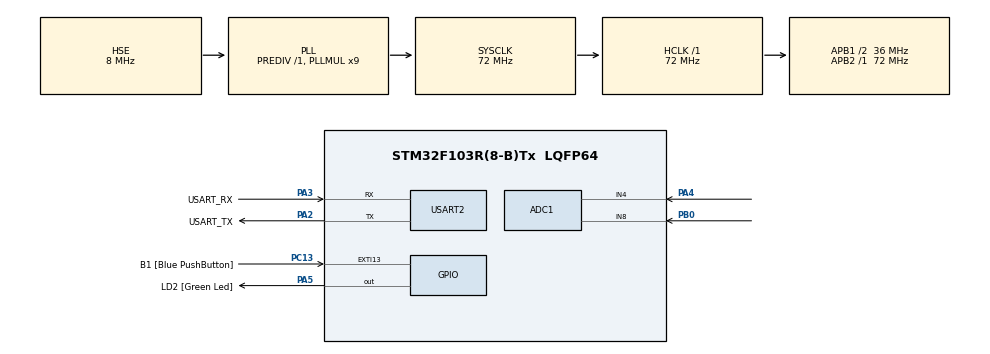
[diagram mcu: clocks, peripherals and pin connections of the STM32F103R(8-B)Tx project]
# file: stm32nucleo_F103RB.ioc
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ADC1.Channel-0\#ChannelRegularConversion=ADC_CHANNEL_4
ADC1.Channel-1\#ChannelRegularConversion=ADC_CHANNEL_8
ADC1.ContinuousConvMode=ENABLE
ADC1.NbrOfConversion=2
ADC1.NbrOfConversionFlag=1
ADC1.Rank-0\#ChannelRegularConversion=1
ADC1.Rank-1\#ChannelRegularConversion=2
ADC1.SamplingTime-0\#ChannelRegularConversion=ADC_SAMPLETIME_1CYCLE_5
ADC1.SamplingTime-1\#ChannelRegularConversion=ADC_SAMPLETIME_1CYCLE_5
ADC1.master=1
Dma.ADC1.2.Direction=DMA_PERIPH_TO_MEMORY
Dma.ADC1.2.Instance=DMA1_Channel1
Dma.ADC1.2.MemDataAlignment=DMA_MDATAALIGN_WORD
Dma.ADC1.2.MemInc=DMA_MINC_ENABLE
Dma.ADC1.2.Mode=DMA_CIRCULAR
Dma.ADC1.2.PeriphDataAlignment=DMA_PDATAALIGN_WORD
Dma.ADC1.2.PeriphInc=DMA_PINC_DISABLE
Dma.ADC1.2.Priority=DMA_PRIORITY_LOW
Dma.Request0=USART2_RX
Dma.Request1=USART2_TX
Dma.Request2=ADC1
Dma.USART2_RX.0.Direction=DMA_PERIPH_TO_MEMORY
Dma.USART2_RX.0.Instance=DMA1_Channel6
Dma.USART2_RX.0.MemDataAlignment=DMA_MDATAALIGN_BYTE
Dma.USART2_RX.0.MemInc=DMA_MINC_ENABLE
Dma.USART2_RX.0.Mode=DMA_CIRCULAR
Dma.USART2_RX.0.PeriphDataAlignment=DMA_PDATAALIGN_BYTE
Dma.USART2_RX.0.PeriphInc=DMA_PINC_DISABLE
Dma.USART2_RX.0.Priority=DMA_PRIORITY_LOW
Dma.USART2_TX.1.Direction=DMA_MEMORY_TO_PERIPH
Dma.USART2_TX.1.Instance=DMA1_Channel7
Dma.USART2_TX.1.MemDataAlignment=DMA_MDATAALIGN_BYTE
Dma.USART2_TX.1.MemInc=DMA_MINC_ENABLE
Dma.USART2_TX.1.Mode=DMA_NORMAL
Dma.USART2_TX.1.PeriphDataAlignment=DMA_PDATAALIGN_BYTE
Dma.USART2_TX.1.PeriphInc=DMA_PINC_DISABLE
Dma.USART2_TX.1.Priority=DMA_PRIORITY_LOW
FREERTOS.Queues01=cmdQueue,4,ProtoCmd_t,0,Dynamic,NULL,NULL
FREERTOS.Tasks01=defaultTask,0,128,StartDefaultTask,Default,NULL,Dynamic,NULL,NULL;nonblockTask,-1,128,StartTaskNonblock,Default,NULL,Dynamic,NULL,NULL
Mcu.Family=STM32F1
Mcu.Name=STM32F103R(8-B)Tx
Mcu.Package=LQFP64
NVIC.DMA1_Channel1_IRQn=true\:5\:0\:false\:false\:true\:true\:false\:true
NVIC.DMA1_Channel6_IRQn=true\:5\:0\:false\:false\:true\:true\:false\:true
NVIC.DMA1_Channel7_IRQn=true\:5\:0\:false\:false\:true\:true\:false\:true
NVIC.EXTI15_10_IRQn=true\:5\:0\:false\:false\:true\:true\:true\:true
NVIC.PriorityGroup=NVIC_PRIORITYGROUP_4
NVIC.TIM1_UP_IRQn=true\:0\:0\:false\:false\:true\:false\:false\:true
NVIC.TimeBase=TIM1_UP_IRQn
NVIC.TimeBaseIP=TIM1
NVIC.USART2_IRQn=true\:5\:0\:false\:false\:true\:true\:true\:true
PA13.GPIO_Label=TMS
PA13.Mode=Serial_Wire
PA13.Signal=SYS_JTMS-SWDIO
PA14.GPIO_Label=TCK
PA14.Mode=Serial_Wire
PA14.Signal=SYS_JTCK-SWCLK
PA2.GPIO_Label=USART_TX
PA2.GPIO_Mode=GPIO_MODE_AF_PP
PA2.GPIO_PuPd=GPIO_NOPULL
PA2.GPIO_Speed=GPIO_SPEED_FREQ_LOW
PA2.Mode=Asynchronous
PA2.Signal=USART2_TX
PA3.GPIO_Label=USART_RX
PA3.GPIO_Mode=GPIO_MODE_AF_PP
PA3.GPIO_PuPd=GPIO_NOPULL
PA3.GPIO_Speed=GPIO_SPEED_FREQ_LOW
PA3.Mode=Asynchronous
PA3.Signal=USART2_RX
PA4.Signal=ADCx_IN4
PA5.GPIO_Label=LD2 [Green Led]
PA5.GPIO_ModeDefaultOutputPP=GPIO_MODE_OUTPUT_PP
PA5.GPIO_PuPd=GPIO_NOPULL
PA5.GPIO_Speed=GPIO_SPEED_FREQ_LOW
PA5.Signal=GPIO_Output
PB0.Signal=ADCx_IN8
PB3.GPIO_Label=SWO
PB3.Signal=SYS_JTDO-TRACESWO
PC13-TAMPER-RTC.GPIO_Label=B1 [Blue PushButton]
PC13-TAMPER-RTC.GPIO_PuPd=GPIO_NOPULL
PC13-TAMPER-RTC.Signal=GPXTI13
PC14-OSC32_IN.Mode=LSE-External-Oscillator
PC14-OSC32_IN.Signal=RCC_OSC32_IN
PC15-OSC32_OUT.Mode=LSE-External-Oscillator
PC15-OSC32_OUT.Signal=RCC_OSC32_OUT
PD0-OSC_IN.Mode=HSE-External-Clock-Source
PD0-OSC_IN.Signal=RCC_OSC_IN
PD1-OSC_OUT.Mode=HSE-External-Clock-Source
PD1-OSC_OUT.Signal=RCC_OSC_OUT
ProjectManager.HeapSize=0x200
ProjectManager.StackSize=0x400
ProjectManager.TargetToolchain=MDK-ARM V5.32
RCC.ADCPresc=RCC_ADCPCLK2_DIV6
RCC.AHBFreq_Value=72000000
RCC.APB1CLKDivider=RCC_HCLK_DIV2
RCC.APB1Freq_Value=36000000
RCC.APB1TimFreq_Value=72000000
RCC.APB2Freq_Value=72000000
RCC.APB2TimFreq_Value=72000000
RCC.HCLKFreq_Value=72000000
RCC.PLLMUL=RCC_PLL_MUL9
RCC.PLLSourceVirtual=RCC_PLLSOURCE_HSE
RCC.RTCClockSelection=RCC_RTCCLKSOURCE_LSE
RCC.SYSCLKFreq_VALUE=72000000
RCC.SYSCLKSource=RCC_SYSCLKSOURCE_PLLCLK
RCC.USBFreq_Value=72000000
SH.ADCx_IN4.0=ADC1_IN4,IN4
SH.ADCx_IN8.0=ADC1_IN8,IN8
USART2.VirtualMode=VM_ASYNC
VP_FREERTOS_VS_CMSIS_V1.Mode=CMSIS_V1
VP_SYS_VS_tim1.Mode=TIM1
board=NUCLEO-F103RB

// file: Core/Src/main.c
/* USER CODE BEGIN Header */
/**
  ******************************************************************************
  * @file           : main.c
  * @brief          : Main program body
  ******************************************************************************
  * @attention
  *
  * <h2><center>&copy; Copyright (c) 2021 STMicroelectronics.
  * All rights reserved.</center></h2>
  *
  * This software component is licensed by ST under BSD 3-Clause license,
  * the "License"; You may not use this file except in compliance with the
  * License. You may obtain a copy of the License at:
  *                        opensource.org/licenses/BSD-3-Clause
  *
  ******************************************************************************
  */
/* USER CODE END Header */
#include "main.h"
#include "cmsis_os.h"
#include "adc.h"
#include "dma.h"
#include "usart.h"
#include "gpio.h"

/* USER CODE BEGIN PV */
uint8_t rx_buffer[RX_SIZE];
uint16_t len_data_total;
uint32_t adc_value[10];
uint16_t average_adc;
float average_volt_a2;
float average_volt_a3;
/* USER CODE END PV */

void SystemClock_Config(void);
void MX_FREERTOS_Init(void);

int main(void)
{

  /* MCU Configuration--------------------------------------------------------*/

  /* Reset of all peripherals, Initializes the Flash interface and the Systick. */
  HAL_Init();

  /* Configure the system clock */
  SystemClock_Config();

  /* Initialize all configured peripherals */
  MX_GPIO_Init();
  MX_DMA_Init();
  MX_USART2_UART_Init();
  MX_ADC1_Init();
  /* USER CODE BEGIN 2 */
	__HAL_UART_ENABLE_IT(&huart2, UART_IT_IDLE);

	HAL_ADC_Start_DMA(&hadc1, (uint32_t*)&adc_value , 10);
	HAL_UART_Receive_DMA(&huart2, rx_buffer, RX_SIZE);
  /* USER CODE END 2 */

  /* Call init function for freertos objects (in freertos.c) */
  MX_FREERTOS_Init();
  /* Start scheduler */
  osKernelStart();

  /* We should never get here as control is now taken by the scheduler */
  /* Infinite loop */
  while (1)
  {

  }
}

void SystemClock_Config(void)
{
  RCC_OscInitTypeDef RCC_OscInitStruct = {0};
  RCC_ClkInitTypeDef RCC_ClkInitStruct = {0};
  RCC_PeriphCLKInitTypeDef PeriphClkInit = {0};

  /** Initializes the RCC Oscillators according to the specified parameters
  * in the RCC_OscInitTypeDef structure.
  */
  RCC_OscInitStruct.OscillatorType = RCC_OSCILLATORTYPE_HSE;
  RCC_OscInitStruct.HSEState = RCC_HSE_BYPASS;
  RCC_OscInitStruct.HSEPredivValue = RCC_HSE_PREDIV_DIV1;
  RCC_OscInitStruct.HSIState = RCC_HSI_ON;
  RCC_OscInitStruct.PLL.PLLState = RCC_PLL_ON;
  RCC_OscInitStruct.PLL.PLLSource = RCC_PLLSOURCE_HSE;
  RCC_OscInitStruct.PLL.PLLMUL = RCC_PLL_MUL9;
  if (HAL_RCC_OscConfig(&RCC_OscInitStruct) != HAL_OK)
  {
    Error_Handler();
  }
  /** Initializes the CPU, AHB and APB buses clocks
  */
  RCC_ClkInitStruct.ClockType = RCC_CLOCKTYPE_HCLK|RCC_CLOCKTYPE_SYSCLK
                              |RCC_CLOCKTYPE_PCLK1|RCC_CLOCKTYPE_PCLK2;
  RCC_ClkInitStruct.SYSCLKSource = RCC_SYSCLKSOURCE_PLLCLK;
  RCC_ClkInitStruct.AHBCLKDivider = RCC_SYSCLK_DIV1;
  RCC_ClkInitStruct.APB1CLKDivider = RCC_HCLK_DIV2;
  RCC_ClkInitStruct.APB2CLKDivider = RCC_HCLK_DIV1;

  if (HAL_RCC_ClockConfig(&RCC_ClkInitStruct, FLASH_LATENCY_2) != HAL_OK)
  {
    Error_Handler();
  }
  PeriphClkInit.PeriphClockSelection = RCC_PERIPHCLK_ADC;
  PeriphClkInit.AdcClockSelection = RCC_ADCPCLK2_DIV6;
  if (HAL_RCCEx_PeriphCLKConfig(&PeriphClkInit) != HAL_OK)
  {
    Error_Handler();
  }
}

void HAL_TIM_PeriodElapsedCallback(TIM_HandleTypeDef *htim)
{
  if (htim->Instance == TIM1) {
    HAL_IncTick();
  }
}

void Error_Handler(void)
{
  __disable_irq();
  while (1)
  {
  }
}

/************************ (C) COPYRIGHT STMicroelectronics *****END OF FILE****/

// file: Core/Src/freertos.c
/* USER CODE BEGIN Header */
/**
 ******************************************************************************
 * File Name          : freertos.c
 * Description        : Code for freertos applications
 ******************************************************************************
 * @attention
 *
 * <h2><center>&copy; Copyright (c) 2021 STMicroelectronics.
 * All rights reserved.</center></h2>
 *
 * This software component is licensed by ST under Ultimate Liberty license
 * SLA0044, the "License"; You may not use this file except in compliance with
 * the License. You may obtain a copy of the License at:
 *                             www.st.com/SLA0044
 *
 ******************************************************************************
 */
/* USER CODE END Header */

#include "FreeRTOS.h"
#include "task.h"
#include "main.h"
#include "cmsis_os.h"

/* USER CODE BEGIN Includes */
#include "usart.h"
#include "flash.h"
#include "demo.pb-c.h"
#include <stdlib.h>
#include <stdio.h>
#include <string.h>
/* USER CODE END Includes */

/* USER CODE BEGIN Variables */
ProtoCmd_t curr_cmd;
/* USER CODE END Variables */
osThreadId defaultTaskHandle;
osThreadId nonblockTaskHandle;
osMessageQId cmdQueueHandle;

void StartDefaultTask(void const *argument);
void StartTaskNonblock(void const *argument);

void MX_FREERTOS_Init(void); /* (MISRA C 2004 rule 8.1) */

/* GetIdleTaskMemory prototype (linked to static allocation support) */
void vApplicationGetIdleTaskMemory(StaticTask_t **ppxIdleTaskTCBBuffer, StackType_t **ppxIdleTaskStackBuffer, uint32_t *pulIdleTaskStackSize);

/* USER CODE BEGIN GET_IDLE_TASK_MEMORY */
static StaticTask_t xIdleTaskTCBBuffer;
static StackType_t xIdleStack[configMINIMAL_STACK_SIZE];

void vApplicationGetIdleTaskMemory(StaticTask_t **ppxIdleTaskTCBBuffer, StackType_t **ppxIdleTaskStackBuffer, uint32_t *pulIdleTaskStackSize)
{
	*ppxIdleTaskTCBBuffer = &xIdleTaskTCBBuffer;
	*ppxIdleTaskStackBuffer = &xIdleStack[0];
	*pulIdleTaskStackSize = configMINIMAL_STACK_SIZE;
	/* place for user code */
}
/* USER CODE END GET_IDLE_TASK_MEMORY */

void MX_FREERTOS_Init(void)
{

	/* Create the queue(s) */
	/* definition and creation of cmdQueue */
	osMessageQDef(cmdQueue, 4, ProtoCmd_t);
	cmdQueueHandle = osMessageCreate(osMessageQ(cmdQueue), NULL);

	/* Create the thread(s) */
	/* definition and creation of defaultTask */
	osThreadDef(defaultTask, StartDefaultTask, osPriorityNormal, 0, 128);
	defaultTaskHandle = osThreadCreate(osThread(defaultTask), NULL);

	/* definition and creation of nonblockTask */
	osThreadDef(nonblockTask, StartTaskNonblock, osPriorityBelowNormal, 0, 128);
	nonblockTaskHandle = osThreadCreate(osThread(nonblockTask), NULL);

}

void StartDefaultTask(void const *argument)
{
	/* USER CODE BEGIN StartDefaultTask */
	/* Infinite loop */

	for (;;)
	{
		if (cmdQueueHandle != 0)
		{
			if (xQueueReceive(cmdQueueHandle, (void *)&curr_cmd, (TickType_t)500))
			{
				if (curr_cmd.data[0] == 0x81 || curr_cmd.data[0] == 0x82 || curr_cmd.data[0] == 0x83 || curr_cmd.data[0] == 0x84 || curr_cmd.data[0] == 0xFF)
				{
					if (curr_cmd.data[2] == 0x00 && curr_cmd.data[3] == 0x23)
					{
						int16_t upgradeFlag;

						upgradeFlag = 0x0002;
						FlashWriteDate(UPGRADE_ADDRESS, &upgradeFlag, 1);
						__disable_irq();
						NVIC_SystemReset();
					}
				}
				HAL_UART_Transmit_DMA(&huart2, (void *)curr_cmd.data, curr_cmd.len);
			}
		}
	}
	/* USER CODE END StartDefaultTask */
}

void StartTaskNonblock(void const *argument)
{
	/* USER CODE BEGIN StartTaskNonblock */
	uint32_t sum_adc;
	osPoolDef(object_pool, 60, uint8_t); // Declare memory pool
	osPoolId(object_pool_id);			  // Memory pool ID
	object_pool_id = osPoolCreate(osPool(object_pool));

	/* Infinite loop */
	for (;;)
	{
		sum_adc = 0;
		for (uint8_t i = 0; i < 5; i++)
		{
			sum_adc = sum_adc + adc_value[i * 2];
		}
		average_adc = sum_adc / 5;
		average_volt_a2 = average_adc * (3.363 / 4032);

		sum_adc = 0;
		for (uint8_t i = 0; i < 5; i++)
		{
			sum_adc = sum_adc + adc_value[i * 2 + 1];
		}
		average_adc = sum_adc / 5;
		average_volt_a3 = average_adc * (3.363 / 4032);

		HAL_GPIO_TogglePin(LD2_GPIO_Port, LD2_Pin);

		People__Person pb_person = PEOPLE__PERSON__INIT;
		pb_person.name = "SOYM";
		pb_person.gender = PEOPLE__PERSON__GENDER__MALE;

		People__Person__PhoneNumber **pb_person_phoneNumber;
		pb_person_phoneNumber = malloc(sizeof(People__Person__PhoneNumber*));
		pb_person_phoneNumber[0] = malloc(sizeof(People__Person__PhoneNumber));
		people__person__phone_number__init(pb_person_phoneNumber[0]);
		pb_person_phoneNumber[0]->number = "1234567";
		pb_person.n_phones = 1;
		pb_person.phones = pb_person_phoneNumber;

		uint32_t len = people__person__get_packed_size(&pb_person);
		char string[16] = {0};
		snprintf(string, sizeof(string) - 1, "len: %d", len);
		//HAL_UART_Transmit_DMA(&huart2, string, sizeof(string) - 1);

		if (object_pool_id != NULL)
		{
			uint8_t *object_data;
			object_data = (uint8_t *)osPoolAlloc(object_pool_id);
			if (object_data != NULL)
			{

				people__person__pack(&pb_person, object_data);

				// protobuf_c_message_init();

				// protobuf_c_message_pack(pb_person, object_data);

				HAL_UART_Transmit_DMA(&huart2, object_data, len);

				free(pb_person_phoneNumber[0]);
				free(pb_person_phoneNumber);

				if (osPoolFree(object_pool_id, object_data) != osOK)
				{
					HAL_UART_Transmit_DMA(&huart2, "osPoolFree fail", 16);
				}
			}
			else
			{
				HAL_UART_Transmit_DMA(&huart2, "osPoolAlloc fail", 17);
			}
		}
		else
		{
			HAL_UART_Transmit_DMA(&huart2, "osPoolCreate fail", 18);
		}
		osDelay(500);
	}
	/* USER CODE END StartTaskNonblock */
}

/************************ (C) COPYRIGHT STMicroelectronics *****END OF FILE****/
